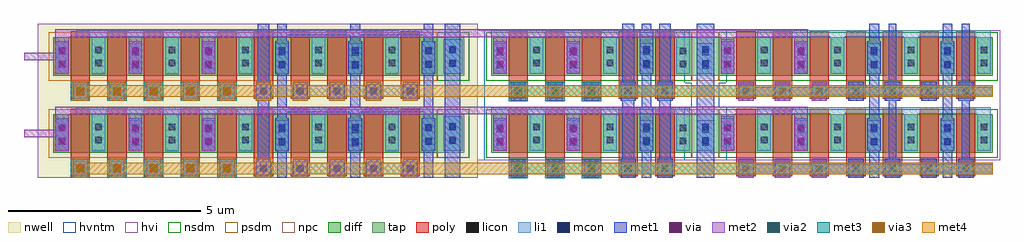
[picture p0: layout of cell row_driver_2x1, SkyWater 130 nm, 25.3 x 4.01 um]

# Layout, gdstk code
import gdstk
lib = gdstk.Library(unit=1e-6, precision=1e-09)
def R(c, l, rs):  # rectangles x0, y0, x1, y1
    for r in rs: c.add(gdstk.rectangle(r[:2], r[2:], *l))
def A(c, l, x, y, w, h, nx, ny, dx, dy):  # array of equal rectangles
    R(c, l, [(x+i*dx, y+j*dy, x+i*dx+w, y+j*dy+h) for i in range(nx) for j in range(ny)])
nwell = (64, 20)
diff = (65, 20)
tap = (65, 44)
poly = (66, 20)
licon = (66, 44)
li1 = (67, 20)
mcon = (67, 44)
met1 = (68, 20)
via = (68, 44)
met2 = (69, 20)
via2 = (69, 44)
met3 = (70, 20)
via3 = (70, 44)
met4 = (71, 20)
hvi = (75, 20)
nsdm = (93, 44)
psdm = (94, 20)
npc = (95, 20)
hvntm = (125, 20)

row_driver = lib.new_cell('row_driver')
R(row_driver, nwell, [(-0.3,-21.24,11.1,-19.24)])
R(row_driver, diff, [(0.1,-20.59,10.05,-19.59), (11.45,-20.59,16.65,-19.59), (17.35,-20.59,24.45,-19.59)])
R(row_driver, tap, [(10.05,-20.59,10.75,-19.59), (16.65,-20.59,17.35,-19.59)])
A(row_driver, poly, 0.55, -21.19, 0.5, 1.75, 10, 1, 0.95, 0)
A(row_driver, poly, 11.9, -21.19, 0.5, 1.75, 5, 1, 0.95, 0)
A(row_driver, poly, 17.8, -21.19, 0.5, 1.75, 7, 1, 0.95, 0)
A(row_driver, licon, 0.715, -21.075, 0.17, 0.17, 10, 1, 0.95, 0)
A(row_driver, licon, 12.065, -21.075, 0.17, 0.17, 5, 1, 0.95, 0)
A(row_driver, licon, 17.965, -21.075, 0.17, 0.17, 7, 1, 0.95, 0)
A(row_driver, licon, 1.19, -20.345, 0.17, 0.17, 5, 2, 1.9, 0.34)
A(row_driver, licon, 18.44, -20.345, 0.17, 0.17, 4, 2, 1.9, 0.34)
R(row_driver, licon, [(7.84,-20.415,8.01,-20.245), (2.14,-20.405,2.31,-20.235), (16.915,-20.405,17.085,-20.235), (19.39,-20.405,19.56,-20.235), (4.04,-20.4,4.21,-20.23), (5.94,-20.4,6.11,-20.23), (11.59,-20.4,11.76,-20.23), (13.49,-20.4,13.66,-20.23), (21.29,-20.395,21.46,-20.225), (23.19,-20.395,23.36,-20.225), (15.39,-20.39,15.56,-20.22), (0.24,-20.37,0.41,-20.2), (9.74,-20.37,9.91,-20.2), (16.34,-20.37,16.51,-20.2), (17.49,-20.37,17.66,-20.2), (10.365,-20.345,10.535,-20.175), (12.54,-20.345,12.71,-20.175), (14.44,-20.345,14.61,-20.175), (7.84,-20.075,8.01,-19.905), (2.14,-20.065,2.31,-19.895), (16.915,-20.065,17.085,-19.895), (19.39,-20.065,19.56,-19.895), (4.04,-20.06,4.21,-19.89), (5.94,-20.06,6.11,-19.89), (11.59,-20.06,11.76,-19.89), (13.49,-20.06,13.66,-19.89), (21.29,-20.055,21.46,-19.885), (23.19,-20.055,23.36,-19.885), (15.39,-20.05,15.56,-19.88), (0.24,-20.03,0.41,-19.86), (9.74,-20.03,9.91,-19.86), (16.34,-20.03,16.51,-19.86), (17.49,-20.03,17.66,-19.86), (10.365,-20.005,10.535,-19.835), (12.54,-20.005,12.71,-19.835), (14.44,-20.005,14.61,-19.835)])
A(row_driver, li1, 0.6, -21.24, 0.4, 0.5, 5, 1, 0.95, 0)
A(row_driver, li1, 5.35, -21.24, 0.4, 0.1, 5, 2, 0.95, 0.4)
A(row_driver, li1, 11.95, -21.24, 0.4, 0.5, 3, 1, 0.95, 0)
A(row_driver, li1, 17.85, -21.24, 0.4, 0.5, 3, 1, 0.95, 0)
A(row_driver, li1, 20.7, -21.24, 0.4, 0.1, 4, 2, 0.95, 0.4)
A(row_driver, li1, 1.1, -20.54, 0.35, 0.96, 5, 1, 1.9, 0)
A(row_driver, li1, 2.05, -20.54, 0.35, 0.79, 4, 1, 1.9, 0)
A(row_driver, li1, 11.5, -20.54, 0.35, 0.79, 3, 1, 1.9, 0)
A(row_driver, li1, 12.45, -20.54, 0.35, 0.96, 3, 1, 1.9, 0)
A(row_driver, li1, 18.35, -20.54, 0.35, 0.96, 4, 1, 1.9, 0)
A(row_driver, li1, 19.3, -20.54, 0.35, 0.79, 3, 1, 1.9, 0)
R(row_driver, li1, [(14.8,-21.24,15.2,-21.14), (15.75,-21.24,16.15,-21.14), (5.35,-21.14,9.55,-20.84), (14.8,-21.14,16.15,-20.84), (20.7,-21.14,22.05,-20.84), (22.6,-21.14,23.95,-20.84), (14.8,-20.84,15.2,-20.74), (15.75,-20.84,16.15,-20.74), (0.15,-20.54,0.5,-19.69), (9.65,-20.54,10,-19.69), (10.2,-20.54,10.7,-19.64), (16.77,-20.54,17.23,-19.75), (17.4,-20.54,17.75,-19.64), (0.68,-19.58,9.05,-19.41), (11.45,-19.58,16.6,-19.41), (18.35,-19.58,24.4,-19.41)])
A(row_driver, mcon, 0.715, -21.075, 0.17, 0.17, 10, 1, 0.95, 0)
A(row_driver, mcon, 12.065, -21.075, 0.17, 0.17, 5, 1, 0.95, 0)
A(row_driver, mcon, 17.965, -21.075, 0.17, 0.17, 7, 1, 0.95, 0)
A(row_driver, mcon, 0.24, -20.38, 0.17, 0.17, 6, 2, 1.9, 0.36)
A(row_driver, mcon, 17.49, -20.38, 0.17, 0.17, 4, 2, 1.9, 0.36)
R(row_driver, mcon, [(11.59,-20.38,11.76,-20.21), (13.49,-20.38,13.66,-20.21), (15.39,-20.36,15.56,-20.19), (16.915,-20.36,17.085,-20.19), (10.365,-20.355,10.535,-20.185), (11.59,-20.02,11.76,-19.85), (13.49,-20.02,13.66,-19.85), (15.39,-20,15.56,-19.83), (16.915,-20,17.085,-19.83), (10.365,-19.995,10.535,-19.825)])
A(row_driver, met1, 0.6, -21.24, 0.4, 0.5, 10, 1, 0.95, 0)
A(row_driver, met1, 5.9, -21.24, 0.25, 0.7, 3, 1, 1.9, 0)
A(row_driver, met1, 11.95, -21.24, 0.4, 0.5, 5, 1, 0.95, 0)
A(row_driver, met1, 17.85, -21.24, 0.4, 0.5, 7, 1, 0.95, 0)
A(row_driver, met1, 0.15, -20.54, 0.35, 0.85, 6, 1, 1.9, 0)
A(row_driver, met1, 17.4, -20.54, 0.35, 0.85, 4, 1, 1.9, 0)
A(row_driver, met1, 5.9, -19.69, 0.25, 0.15, 3, 2, 1.9, 0.3)
R(row_driver, met1, [(10.25,-21.24,10.65,-19.24), (15.35,-21.24,15.6,-20.54), (16.77,-21.24,17.23,-19.24), (21.25,-21.24,21.5,-20.54), (23.15,-21.24,23.4,-20.54), (5.4,-20.74,5.7,-19.24), (14.85,-20.74,15.15,-19.24), (15.8,-20.74,16.1,-19.24), (21.75,-20.74,21.95,-19.24), (23.65,-20.74,23.85,-19.24), (11.5,-20.54,11.85,-19.69), (13.4,-20.54,13.75,-19.69), (15.3,-20.54,15.65,-19.39), (21.25,-19.69,21.5,-19.24), (23.15,-19.69,23.4,-19.24), (5.9,-19.54,9.95,-19.39), (15.35,-19.39,15.6,-19.24)])
A(row_driver, via, 0.725, -21.065, 0.15, 0.15, 5, 1, 0.95, 0)
A(row_driver, via, 12.075, -21.065, 0.15, 0.15, 3, 1, 0.95, 0)
A(row_driver, via, 17.975, -21.065, 0.15, 0.15, 3, 1, 0.95, 0)
A(row_driver, via, 0.25, -20.35, 0.15, 0.15, 3, 2, 1.9, 0.32)
R(row_driver, via, [(11.6,-20.35,11.75,-20.2), (13.5,-20.35,13.65,-20.2), (17.5,-20.35,17.65,-20.2), (19.4,-20.35,19.55,-20.2), (11.6,-20.03,11.75,-19.88), (13.5,-20.03,13.65,-19.88), (17.5,-20.03,17.65,-19.88), (19.4,-20.03,19.55,-19.88)])
A(row_driver, met2, 0.6, -21.24, 0.4, 0.5, 5, 1, 0.95, 0)
A(row_driver, met2, 11.95, -21.24, 0.4, 0.5, 3, 1, 0.95, 0)
A(row_driver, met2, 17.85, -21.24, 0.4, 0.15, 3, 2, 0.95, 0.35)
R(row_driver, met2, [(17.85,-21.09,24.45,-20.89), (0.15,-20.54,0.5,-20.19), (2.05,-20.54,2.4,-19.59), (3.95,-20.54,4.3,-19.59), (11.5,-20.54,11.85,-19.59), (13.4,-20.54,13.75,-19.59), (17.4,-20.54,17.75,-19.59), (19.3,-20.54,19.65,-19.59), (-0.66,-20.19,0.5,-19.99), (0.15,-19.99,0.5,-19.59), (0.15,-19.59,19.65,-19.39)])
A(row_driver, via2, 0.7, -21.09, 0.2, 0.2, 5, 1, 0.95, 0)
A(row_driver, via2, 12.05, -21.09, 0.2, 0.2, 3, 1, 0.95, 0)
A(row_driver, met3, 11.9, -21.25, 0.5, 0.11, 3, 1, 0.95, 0)
A(row_driver, met3, 0.55, -21.24, 0.5, 0.5, 5, 1, 0.95, 0)
A(row_driver, met3, 11.9, -20.84, 0.5, 0.1, 3, 1, 0.95, 0)
R(row_driver, met3, [(11.9,-21.14,24.45,-20.84)])
A(row_driver, via3, 0.7, -21.09, 0.2, 0.2, 5, 1, 0.95, 0)
A(row_driver, met4, 0.6, -21.24, 0.4, 0.1, 10, 2, 0.95, 0.4)
R(row_driver, met4, [(0.6,-21.14,24.45,-20.84)])
R(row_driver, hvi, [(-0.3,-21.24,11.1,-20.775), (-0.3,-20.775,24.635,-19.405), (-0.3,-19.405,11.1,-19.24)])
R(row_driver, nsdm, [(10.05,-20.715,10.875,-19.465), (11.325,-20.715,16.65,-19.465), (17.35,-20.715,24.575,-19.465)])
R(row_driver, psdm, [(-0.025,-20.715,10.05,-19.465), (16.65,-20.715,17.35,-19.465)])
A(row_driver, npc, 0.615, -21.175, 0.37, 0.37, 10, 1, 0.95, 0)
A(row_driver, npc, 11.965, -21.175, 0.37, 0.37, 5, 1, 0.95, 0)
A(row_driver, npc, 17.865, -21.175, 0.37, 0.37, 7, 1, 0.95, 0)
R(row_driver, hvntm, [(11.265,-20.775,16.465,-19.405), (17.535,-20.775,24.635,-19.405)])
row_driver.add(gdstk.Label('VP', (10.45,-19.24), layer=68, texttype=5))
row_driver.add(gdstk.Label('Vr-', (15.45,-19.24), layer=68, texttype=5))
row_driver.add(gdstk.Label('VN', (17,-19.24), layer=68, texttype=5))
row_driver.add(gdstk.Label('Vgn', (15,-19.24), layer=68, texttype=5))
row_driver.add(gdstk.Label('Vr+', (9.85,-19.24), layer=68, texttype=5))
row_driver.add(gdstk.Label('Vref', (21.4,-19.24), layer=68, texttype=5))
row_driver.add(gdstk.Label('WR', (21.85,-19.24), layer=68, texttype=5))
row_driver.add(gdstk.Label('Vsample', (23.3,-19.24), layer=68, texttype=5))
row_driver.add(gdstk.Label('SAMPLE', (23.75,-19.24), layer=68, texttype=5))
row_driver.add(gdstk.Label('Vgp', (5.55,-19.24), layer=68, texttype=5))
row_driver.add(gdstk.Label('SWref', (24.45,-20.99), layer=70, texttype=5))
row_driver.add(gdstk.Label('SWr+', (24.45,-20.94), layer=71, texttype=5))
row_driver.add(gdstk.Label('SWr-', (24.45,-21.03), layer=69, texttype=5))
row_driver.add(gdstk.Label('row', (-0.3,-20.09), layer=69, texttype=5))

row_driver_2x1 = lib.new_cell('row_driver_2x1')
R(row_driver_2x1, hvi, [(11.1,2.085,24.635,2.715)])
R(row_driver_2x1, hvntm, [(11.265,2.085,16.65,2.715), (17.35,2.085,24.635,2.715)])
row_driver_2x1.add(gdstk.Reference(row_driver, (0,23.49)))
row_driver_2x1.add(gdstk.Reference(row_driver, (0,21.49)))

lib.write_gds('row_driver_2x1.gds')
